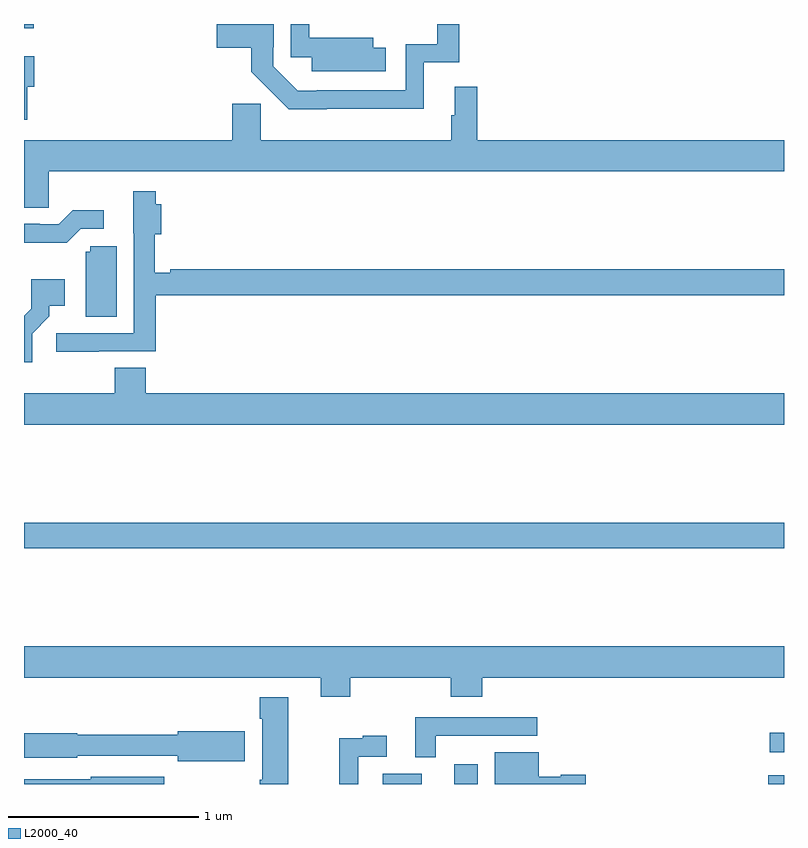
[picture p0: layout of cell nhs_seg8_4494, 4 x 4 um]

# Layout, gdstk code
import gdstk
lib = gdstk.Library(unit=1e-6, precision=1e-09)
def R(c, l, rs):  # rectangles x0, y0, x1, y1
    for r in rs: c.add(gdstk.rectangle(r[:2], r[2:], *l))
def P(c, l, *ps):  # polygons
    for p in ps: c.add(gdstk.Polygon(p, *l))
L2000_40 = (2000, 40)

nhs_seg8_4494 = lib.new_cell('nhs_seg8_4494')
R(nhs_seg8_4494, L2000_40, [(384.887,1155.9,385.093,1155.955), (385.265,1155.9,385.387,1156.003), (386.918,1155.9,387,1155.946), (386.925,1156.068,387,1156.169), (383,1157.14,387,1157.276), (383,1159.877,383.05,1159.9)])
P(nhs_seg8_4494, L2000_40, [(384.904,1159.774),(384.838,1159.774),(384.838,1159.828),(384.501,1159.828),(384.501,1159.9),(384.405,1159.9),(384.405,1159.725),(384.515,1159.725),(384.515,1159.652),(384.904,1159.652)],
  [(384.593,1159.454),(385.105,1159.454),(385.105,1159.698),(385.292,1159.698),(385.292,1159.9),(385.176,1159.9),(385.176,1159.794),(385.008,1159.794),(385.008,1159.551),(384.541,1159.551),(384.541,1159.548),(384.441,1159.548),(384.312,1159.677),(384.312,1159.777),(384.315,1159.777),(384.315,1159.9),(384.014,1159.9),(384.014,1159.775),(384.197,1159.775),(384.197,1159.649),(384.394,1159.452),(384.593,1159.452)],
  [(383.018,1159.571),(383.053,1159.571),(383.053,1159.729),(383,1159.729),(383,1159.395),(383.018,1159.395)],
  [(383.13,1159.124),(387,1159.124),(387,1159.288),(385.385,1159.288),(385.385,1159.57),(385.268,1159.57),(385.268,1159.421),(385.249,1159.421),(385.249,1159.288),(384.245,1159.288),(384.245,1159.479),(384.095,1159.479),(384.095,1159.288),(383,1159.288),(383,1158.934),(383.13,1158.934)],
  [(383.393,1158.177),(383.693,1158.177),(383.693,1158.472),(387,1158.472),(387,1158.608),(383.77,1158.608),(383.77,1158.59),(383.689,1158.59),(383.689,1158.794),(383.723,1158.794),(383.723,1158.952),(383.693,1158.952),(383.693,1159.021),(383.576,1159.021),(383.576,1158.798),(383.577,1158.798),(383.577,1158.273),(383.169,1158.273),(383.169,1158.175),(383.393,1158.175)],
  [(383.298,1158.822),(383.419,1158.822),(383.419,1158.919),(383.257,1158.919),(383.184,1158.846),(383.084,1158.846),(383.084,1158.849),(383,1158.849),(383,1158.75),(383.126,1158.75),(383.126,1158.749),(383.225,1158.749)],
  [(383.488,1158.729),(383.349,1158.729),(383.349,1158.702),(383.324,1158.702),(383.324,1158.358),(383.488,1158.358)],
  [(383.044,1158.271),(383.134,1158.361),(383.134,1158.416),(383.215,1158.416),(383.215,1158.556),(383.037,1158.556),(383.037,1158.401),(383,1158.364),(383,1158.12),(383.044,1158.12)],
  [(387,1157.956),(383.642,1157.956),(383.642,1158.092),(383.477,1158.092),(383.477,1157.956),(383,1157.956),(383,1157.792),(387,1157.792)],
  [(384.716,1156.46),(385.247,1156.46),(385.247,1156.358),(385.412,1156.358),(385.412,1156.46),(387,1156.46),(387,1156.624),(383,1156.624),(383,1156.46),(384.563,1156.46),(384.563,1156.358),(384.716,1156.358)],
  [(384.391,1156.357),(384.242,1156.357),(384.242,1156.244),(384.254,1156.244),(384.254,1155.923),(384.242,1155.923),(384.242,1155.9),(384.391,1155.9)],
  [(385.168,1156.154),(385.382,1156.154),(385.382,1156.155),(385.702,1156.155),(385.702,1156.251),(385.058,1156.251),(385.058,1156.04),(385.168,1156.04)],
  [(384.163,1156.177),(383.81,1156.177),(383.81,1156.159),(383.28,1156.159),(383.28,1156.167),(383,1156.167),(383,1156.037),(383.28,1156.037),(383.28,1156.05),(383.81,1156.05),(383.81,1156.019),(384.163,1156.019)],
  [(384.759,1156.044),(384.91,1156.044),(384.91,1156.153),(384.782,1156.153),(384.782,1156.142),(384.658,1156.142),(384.658,1155.9),(384.759,1155.9)],
  [(385.957,1155.95),(385.824,1155.95),(385.824,1155.937),(385.708,1155.937),(385.708,1156.066),(385.478,1156.066),(385.478,1155.9),(385.957,1155.9)],
  [(383.737,1155.937),(383.352,1155.937),(383.352,1155.924),(383,1155.924),(383,1155.9),(383.737,1155.9)])

lib.write_gds('nhs_seg8_4494.gds')
